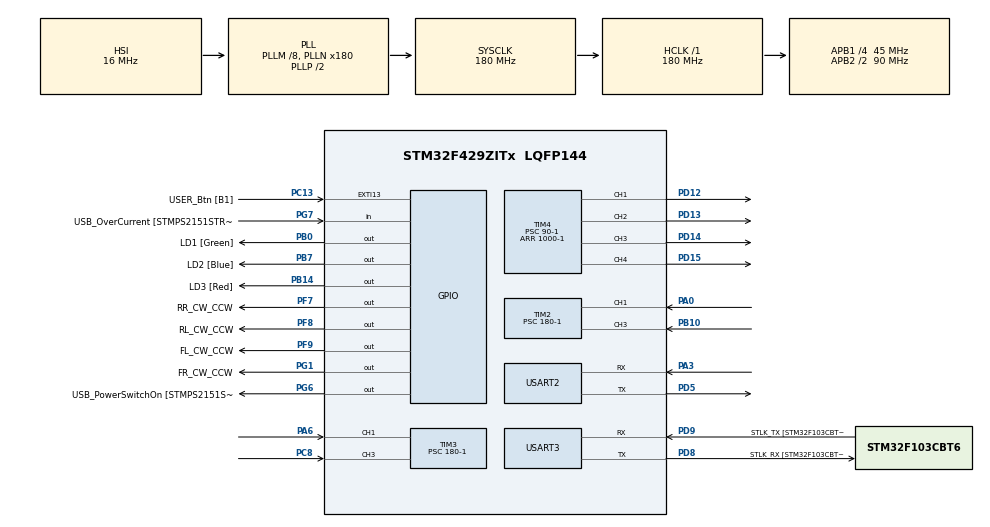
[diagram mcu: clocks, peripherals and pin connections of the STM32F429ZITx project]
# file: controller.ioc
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Mcu.Family=STM32F4
Mcu.Name=STM32F429ZITx
Mcu.Package=LQFP144
NVIC.PriorityGroup=NVIC_PRIORITYGROUP_4
NVIC.TIM2_IRQn=true\:0\:0\:false\:true\:true\:1\:true\:true
NVIC.TIM3_IRQn=true\:0\:0\:false\:true\:true\:2\:true\:true
NVIC.TIM6_DAC_IRQn=true\:0\:0\:false\:true\:true\:3\:true\:true
PA0/WKUP.Signal=S_TIM2_CH1_ETR
PA1.GPIO_Label=RMII_REF_CLK [LAN8742A-CZ-TR_REFCLK0]
PA1.Signal=ETH_REF_CLK
PA10.GPIO_Label=USB_ID
PA10.Signal=USB_OTG_FS_ID
PA11.GPIO_Label=USB_DM
PA11.Signal=USB_OTG_FS_DM
PA12.GPIO_Label=USB_DP
PA12.Signal=USB_OTG_FS_DP
PA13.GPIO_Label=TMS
PA13.Mode=Serial_Wire
PA13.Signal=SYS_JTMS-SWDIO
PA14.GPIO_Label=TCK
PA14.Mode=Serial_Wire
PA14.Signal=SYS_JTCK-SWCLK
PA2.GPIO_Label=RMII_MDIO [LAN8742A-CZ-TR_MDIO]
PA2.Signal=ETH_MDIO
PA3.Mode=Asynchronous
PA3.Signal=USART2_RX
PA6.Signal=S_TIM3_CH1
PA7.GPIO_Label=RMII_CRS_DV [LAN8742A-CZ-TR_CRS_DV]
PA7.Signal=ETH_CRS_DV
PA8.GPIO_Label=USB_SOF [TP1]
PA8.Signal=USB_OTG_FS_SOF
PA9.GPIO_Label=USB_VBUS
PA9.Signal=USB_OTG_FS_VBUS
PB0.GPIO_Label=LD1 [Green]
PB0.Signal=GPIO_Output
PB10.Signal=S_TIM2_CH3
PB13.GPIO_Label=RMII_TXD1 [LAN8742A-CZ-TR_TXD1]
PB13.Signal=ETH_TXD1
PB14.GPIO_Label=LD3 [Red]
PB14.Signal=GPIO_Output
PB7.GPIO_Label=LD2 [Blue]
PB7.Signal=GPIO_Output
PC1.GPIO_Label=RMII_MDC [LAN8742A-CZ-TR_MDC]
PC1.Signal=ETH_MDC
PC13.GPIO_Label=USER_Btn [B1]
PC13.Signal=GPXTI13
PC14/OSC32_IN.Mode=LSE-External-Oscillator
PC14/OSC32_IN.Signal=RCC_OSC32_IN
PC15/OSC32_OUT.Mode=LSE-External-Oscillator
PC15/OSC32_OUT.Signal=RCC_OSC32_OUT
PC4.GPIO_Label=RMII_RXD0 [LAN8742A-CZ-TR_RXD0]
PC4.Signal=ETH_RXD0
PC5.GPIO_Label=RMII_RXD1 [LAN8742A-CZ-TR_RXD1]
PC5.Signal=ETH_RXD1
PC8.Signal=S_TIM3_CH3
PD12.Signal=S_TIM4_CH1
PD13.Signal=S_TIM4_CH2
PD14.Signal=S_TIM4_CH3
PD15.Signal=S_TIM4_CH4
PD5.Mode=Asynchronous
PD5.Signal=USART2_TX
PD8.GPIO_Label=STLK_RX [STM32F103CBT6_PA3]
PD8.Mode=Asynchronous
PD8.Signal=USART3_TX
PD9.GPIO_Label=STLK_TX [STM32F103CBT6_PA2]
PD9.Mode=Asynchronous
PD9.Signal=USART3_RX
PF7.GPIO_Label=RR_CW_CCW
PF7.GPIO_PuPd=GPIO_NOPULL
PF7.Signal=GPIO_Output
PF8.GPIO_Label=RL_CW_CCW
PF8.Signal=GPIO_Output
PF9.GPIO_Label=FL_CW_CCW
PF9.Signal=GPIO_Output
PG1.GPIO_Label=FR_CW_CCW
PG1.GPIO_PuPd=GPIO_NOPULL
PG1.Signal=GPIO_Output
PG11.GPIO_Label=RMII_TX_EN [LAN8742A-CZ-TR_TXEN]
PG11.Signal=ETH_TX_EN
PG13.GPIO_Label=RMII_TXD0 [LAN8742A-CZ-TR_TXD0]
PG13.Signal=ETH_TXD0
PG6.GPIO_Label=USB_PowerSwitchOn [STMPS2151STR_EN]
PG6.Signal=GPIO_Output
PG7.GPIO_Label=USB_OverCurrent [STMPS2151STR_FAULT]
PG7.Signal=GPIO_Input
PH0/OSC_IN.GPIO_Label=MCO [STM32F103CBT6_PA8]
PH0/OSC_IN.Mode=HSE-External-Clock-Source
PH0/OSC_IN.Signal=RCC_OSC_IN
PH1/OSC_OUT.Mode=HSE-External-Clock-Source
PH1/OSC_OUT.Signal=RCC_OSC_OUT
ProjectManager.HeapSize=0x200
ProjectManager.StackSize=0x400
ProjectManager.TargetToolchain=STM32CubeIDE
RCC.48MHZClocksFreq_Value=51428571.428571425
RCC.AHBFreq_Value=180000000
RCC.APB1CLKDivider=RCC_HCLK_DIV4
RCC.APB1Freq_Value=45000000
RCC.APB1TimFreq_Value=90000000
RCC.APB2CLKDivider=RCC_HCLK_DIV2
RCC.APB2Freq_Value=90000000
RCC.APB2TimCLKDivider=2
RCC.APB2TimFreq_Value=180000000
RCC.CortexFreq_Value=180000000
RCC.HCLKFreq_Value=180000000
RCC.HSE_VALUE=8000000
RCC.HSI_VALUE=16000000
RCC.PLLM=8
RCC.PLLMUL=RCC_PLL_MUL9
RCC.PLLN=180
RCC.PLLQ=7
RCC.PRESCALERUSB=RCC_USBCLKSOURCE_PLL_DIV1_5
RCC.RCC_RTC_Clock_Source=RCC_RTCCLKSOURCE_LSE
RCC.RCC_RTC_Clock_SourceVirtual=RCC_RTCCLKSOURCE_LSE
RCC.SYSCLKFreq_VALUE=180000000
RCC.SYSCLKSource=RCC_SYSCLKSOURCE_PLLCLK
RCC.SYSCLKSourceVirtual=RCC_SYSCLKSOURCE_PLLCLK
RCC.USBFreq_Value=48000000
RCC.VCOOutputFreq_Value=360000000
SH.S_TIM2_CH1_ETR.0=TIM2_CH1,Input_Capture1_from_TI1
SH.S_TIM2_CH3.0=TIM2_CH3,Input_Capture3_from_TI3
SH.S_TIM3_CH1.0=TIM3_CH1,Input_Capture1_from_TI1
SH.S_TIM3_CH3.0=TIM3_CH3,Input_Capture3_from_TI3
SH.S_TIM4_CH1.0=TIM4_CH1,PWM Generation1 CH1
SH.S_TIM4_CH2.0=TIM4_CH2,PWM Generation2 CH2
SH.S_TIM4_CH3.0=TIM4_CH3,PWM Generation3 CH3
SH.S_TIM4_CH4.0=TIM4_CH4,PWM Generation4 CH4
TIM2.AutoReloadPreload=TIM_AUTORELOAD_PRELOAD_DISABLE
TIM2.Channel-Input_Capture1_from_TI1=TIM_CHANNEL_1
TIM2.Channel-Input_Capture2_from_TI1_63=TIM_CHANNEL_2
TIM2.Channel-Input_Capture3_from_TI3=TIM_CHANNEL_3
TIM2.Channel-Input_Capture4_from_TI3_63=TIM_CHANNEL_4
TIM2.ICPolarity_CH2=TIM_INPUTCHANNELPOLARITY_FALLING
TIM2.ICPolarity_CH4=TIM_INPUTCHANNELPOLARITY_FALLING
TIM2.Period=20000-1
TIM2.Prescaler=180-1
TIM3.Channel-Input_Capture1_from_TI1=TIM_CHANNEL_1
TIM3.Channel-Input_Capture2_from_TI1_63=TIM_CHANNEL_2
TIM3.Channel-Input_Capture3_from_TI3=TIM_CHANNEL_3
TIM3.Channel-Input_Capture4_from_TI3_63=TIM_CHANNEL_4
TIM3.ICPolarity_CH2=TIM_INPUTCHANNELPOLARITY_FALLING
TIM3.ICPolarity_CH4=TIM_INPUTCHANNELPOLARITY_FALLING
TIM3.Period=20000-1
TIM3.Prescaler=180-1
TIM4.AutoReloadPreload=TIM_AUTORELOAD_PRELOAD_ENABLE
TIM4.Channel-PWM\ Generation1\ CH1=TIM_CHANNEL_1
TIM4.Channel-PWM\ Generation2\ CH2=TIM_CHANNEL_2
TIM4.Channel-PWM\ Generation3\ CH3=TIM_CHANNEL_3
TIM4.Channel-PWM\ Generation4\ CH4=TIM_CHANNEL_4
TIM4.OCMode_PWM-PWM\ Generation1\ CH1=TIM_OCMODE_PWM2
TIM4.OCMode_PWM-PWM\ Generation2\ CH2=TIM_OCMODE_PWM2
TIM4.OCMode_PWM-PWM\ Generation3\ CH3=TIM_OCMODE_PWM2
TIM4.OCMode_PWM-PWM\ Generation4\ CH4=TIM_OCMODE_PWM2
TIM4.Period=1000-1
TIM4.Prescaler=90-1
TIM6.Period=10000-1
TIM6.Prescaler=180-1
USART2.VirtualMode=VM_ASYNC
USART3.VirtualMode=VM_ASYNC
VP_RTC_VS_RTC_Activate.Mode=RTC_Enabled
VP_TIM2_VS_ClockSourceINT.Mode=Internal
VP_TIM2_VS_indirect_ch1.Mode=Input_Capture2_from_TI1_63
VP_TIM2_VS_indirect_ch3.Mode=Input_Capture4_from_TI3_63
VP_TIM3_VS_ClockSourceINT.Mode=Internal
VP_TIM3_VS_indirect_ch1.Mode=Input_Capture2_from_TI1_63
VP_TIM3_VS_indirect_ch3.Mode=Input_Capture4_from_TI3_63
VP_TIM4_VS_ClockSourceINT.Mode=Internal
VP_TIM6_VS_ClockSourceINT.Mode=Enable_Timer
board=NUCLEO-F429ZI

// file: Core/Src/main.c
/* USER CODE BEGIN Header */
/**
  ******************************************************************************
  * @file           : main.c
  * @brief          : Main program body
  ******************************************************************************
  * @attention
  *
  * Copyright (c) 2022 STMicroelectronics.
  * All rights reserved.
  *
  * This software is licensed under terms that can be found in the LICENSE file
  * in the root directory of this software component.
  * If no LICENSE file comes with this software, it is provided AS-IS.
  *
  ******************************************************************************
  */
/* USER CODE END Header */
#include "main.h"

/* USER CODE BEGIN Includes */
#include "controller.h"
#include "motor.h"
#include <stdio.h>
/* USER CODE END Includes */

RTC_HandleTypeDef hrtc;

TIM_HandleTypeDef htim2;
TIM_HandleTypeDef htim3;
TIM_HandleTypeDef htim4;
TIM_HandleTypeDef htim6;

UART_HandleTypeDef huart2;
UART_HandleTypeDef huart3;

/* USER CODE BEGIN PV */
CONTROLLER_SIGNAL tmpSignal;
int16_t throttle;
int16_t duty1;
int16_t duty2;
int16_t preduty2;
int16_t duty3;
int16_t duty4;

/* USER CODE END PV */

void SystemClock_Config(void);
static void MX_GPIO_Init(void);
static void MX_USART3_UART_Init(void);
static void MX_RTC_Init(void);
static void MX_TIM2_Init(void);
static void MX_TIM3_Init(void);
static void MX_TIM4_Init(void);
static void MX_TIM6_Init(void);
static void MX_USART2_UART_Init(void);
static void MX_NVIC_Init(void);

/* USER CODE BEGIN 0 */
#ifdef __GNUC__
  /* With GCC, small printf (option LD Linker->Libraries->Small printf
     set to 'Yes') calls __io_putchar() */
  #define PUTCHAR_PROTOTYPE int __io_putchar(int ch)
#else
  #define PUTCHAR_PROTOTYPE int fputc(int ch, FILE *f)
#endif /* __GNUC__ */

void HAL_TIM_PeriodElapsedCallback(TIM_HandleTypeDef *htim)
{
	if(htim->Instance == TIM6)  //time ++
	{

		printf("%d\r\n",tmpSignal);
		//printf("\r ch1 : %d, ch2 : %d, ch3 : %d, ch4 : %d           ",duty1, duty2, duty3, duty4);
		//printf("\r control : %d,  throttle :  %d     ",tmpSignal, throttle);
	}
}

void HAL_TIM_IC_CaptureCallback(TIM_HandleTypeDef *htim)
{
	if(htim->Instance == TIM2)
	{
		HAL_GPIO_TogglePin(GPIOB, GPIO_PIN_0);
		if(htim->Channel == HAL_TIM_ACTIVE_CHANNEL_1)
		{
			TIM2->CNT = 0;
		}
		else if(htim->Channel == HAL_TIM_ACTIVE_CHANNEL_2)
		{
			duty1 = TIM2->CCR2;
		}

		if(htim->Channel == HAL_TIM_ACTIVE_CHANNEL_3)
		{
			TIM2->CNT = 0;
		}
		else if(htim->Channel == HAL_TIM_ACTIVE_CHANNEL_4)
		{
			duty2 = TIM2->CCR4;
		}
	}

	if(htim->Instance == TIM3)
	{
		HAL_GPIO_TogglePin(GPIOB, GPIO_PIN_7);
		if(htim->Channel == HAL_TIM_ACTIVE_CHANNEL_1)
		{
			TIM3->CNT = 0;
		}
		else if(htim->Channel == HAL_TIM_ACTIVE_CHANNEL_2)
		{
			duty3 = TIM3->CCR2;
		}

		if(htim->Channel == HAL_TIM_ACTIVE_CHANNEL_3)
		{
			TIM3->CNT = 0;
		}
		else if(htim->Channel == HAL_TIM_ACTIVE_CHANNEL_4)
		{
			duty4 = TIM3->CCR4;
		}
	}
}

/* USER CODE END 0 */

int main(void)
{

  /* MCU Configuration--------------------------------------------------------*/

  /* Reset of all peripherals, Initializes the Flash interface and the Systick. */
  HAL_Init();

  /* Configure the system clock */
  SystemClock_Config();

  /* Initialize all configured peripherals */
  MX_GPIO_Init();
  MX_USART3_UART_Init();
  MX_RTC_Init();
  MX_TIM2_Init();
  MX_TIM3_Init();
  MX_TIM4_Init();
  MX_TIM6_Init();
  MX_USART2_UART_Init();

  /* Initialize interrupts */
  MX_NVIC_Init();
  /* USER CODE BEGIN 2 */
  //HAL_TIM_Base_Start_IT(&htim2);

  HAL_TIM_IC_Start_IT(&htim2, TIM_CHANNEL_1);
  HAL_TIM_IC_Start_IT(&htim2, TIM_CHANNEL_2);// INPUT CAPTURE
  HAL_TIM_IC_Start_IT(&htim2, TIM_CHANNEL_3);
  HAL_TIM_IC_Start_IT(&htim2, TIM_CHANNEL_4);
  HAL_TIM_IC_Start_IT(&htim3, TIM_CHANNEL_1);
  HAL_TIM_IC_Start_IT(&htim3, TIM_CHANNEL_2);// INPUT CAPTURE
  HAL_TIM_IC_Start_IT(&htim3, TIM_CHANNEL_3);
  HAL_TIM_IC_Start_IT(&htim3, TIM_CHANNEL_4);
  HAL_TIM_PWM_Start(&htim4, TIM_CHANNEL_1);
  HAL_TIM_PWM_Start(&htim4, TIM_CHANNEL_2);
  HAL_TIM_PWM_Start(&htim4, TIM_CHANNEL_3);
  HAL_TIM_PWM_Start(&htim4, TIM_CHANNEL_4);
  HAL_TIM_Base_Start_IT(&htim6);
  HAL_GPIO_WritePin(GPIOG, GPIO_PIN_1,GPIO_PIN_SET);  //FR_CW_CCW
  HAL_GPIO_WritePin(GPIOF, GPIO_PIN_9,GPIO_PIN_SET);  //FL_CW_CCW
  HAL_GPIO_WritePin(GPIOF, GPIO_PIN_7,GPIO_PIN_SET);  //RR_CW_CCW
  HAL_GPIO_WritePin(GPIOF, GPIO_PIN_8,GPIO_PIN_SET);  //RL_CW_CCW
 // MotorInit();
  /* USER CODE END 2 */

  /* Infinite loop */
  while (1)
  {

    /* USER CODE BEGIN 3 */
		tmpSignal = Control();
		Throttle();
		Move(tmpSignal);
  }
  /* USER CODE END 3 */
}

void SystemClock_Config(void)
{
  RCC_OscInitTypeDef RCC_OscInitStruct = {0};
  RCC_ClkInitTypeDef RCC_ClkInitStruct = {0};

  /** Configure the main internal regulator output voltage
  */
  __HAL_RCC_PWR_CLK_ENABLE();
  __HAL_PWR_VOLTAGESCALING_CONFIG(PWR_REGULATOR_VOLTAGE_SCALE1);
  /** Initializes the RCC Oscillators according to the specified parameters
  * in the RCC_OscInitTypeDef structure.
  */
  RCC_OscInitStruct.OscillatorType = RCC_OSCILLATORTYPE_HSI|RCC_OSCILLATORTYPE_LSE;
  RCC_OscInitStruct.LSEState = RCC_LSE_ON;
  RCC_OscInitStruct.HSIState = RCC_HSI_ON;
  RCC_OscInitStruct.HSICalibrationValue = RCC_HSICALIBRATION_DEFAULT;
  RCC_OscInitStruct.PLL.PLLState = RCC_PLL_ON;
  RCC_OscInitStruct.PLL.PLLSource = RCC_PLLSOURCE_HSI;
  RCC_OscInitStruct.PLL.PLLM = 8;
  RCC_OscInitStruct.PLL.PLLN = 180;
  RCC_OscInitStruct.PLL.PLLP = RCC_PLLP_DIV2;
  RCC_OscInitStruct.PLL.PLLQ = 7;
  if (HAL_RCC_OscConfig(&RCC_OscInitStruct) != HAL_OK)
  {
    Error_Handler();
  }
  /** Activate the Over-Drive mode
  */
  if (HAL_PWREx_EnableOverDrive() != HAL_OK)
  {
    Error_Handler();
  }
  /** Initializes the CPU, AHB and APB buses clocks
  */
  RCC_ClkInitStruct.ClockType = RCC_CLOCKTYPE_HCLK|RCC_CLOCKTYPE_SYSCLK
                              |RCC_CLOCKTYPE_PCLK1|RCC_CLOCKTYPE_PCLK2;
  RCC_ClkInitStruct.SYSCLKSource = RCC_SYSCLKSOURCE_PLLCLK;
  RCC_ClkInitStruct.AHBCLKDivider = RCC_SYSCLK_DIV1;
  RCC_ClkInitStruct.APB1CLKDivider = RCC_HCLK_DIV4;
  RCC_ClkInitStruct.APB2CLKDivider = RCC_HCLK_DIV2;

  if (HAL_RCC_ClockConfig(&RCC_ClkInitStruct, FLASH_LATENCY_5) != HAL_OK)
  {
    Error_Handler();
  }
}

/**
  * @brief NVIC Configuration.
  * @retval None
  */
static void MX_NVIC_Init(void)
{
  /* TIM2_IRQn interrupt configuration */
  HAL_NVIC_SetPriority(TIM2_IRQn, 0, 0);
  HAL_NVIC_EnableIRQ(TIM2_IRQn);
  /* TIM3_IRQn interrupt configuration */
  HAL_NVIC_SetPriority(TIM3_IRQn, 0, 0);
  HAL_NVIC_EnableIRQ(TIM3_IRQn);
  /* TIM6_DAC_IRQn interrupt configuration */
  HAL_NVIC_SetPriority(TIM6_DAC_IRQn, 0, 0);
  HAL_NVIC_EnableIRQ(TIM6_DAC_IRQn);
}

static void MX_RTC_Init(void)
{

  /** Initialize RTC Only
  */
  hrtc.Instance = RTC;
  hrtc.Init.HourFormat = RTC_HOURFORMAT_24;
  hrtc.Init.AsynchPrediv = 127;
  hrtc.Init.SynchPrediv = 255;
  hrtc.Init.OutPut = RTC_OUTPUT_DISABLE;
  hrtc.Init.OutPutPolarity = RTC_OUTPUT_POLARITY_HIGH;
  hrtc.Init.OutPutType = RTC_OUTPUT_TYPE_OPENDRAIN;
  if (HAL_RTC_Init(&hrtc) != HAL_OK)
  {
    Error_Handler();
  }

}

static void MX_TIM2_Init(void)
{

  TIM_ClockConfigTypeDef sClockSourceConfig = {0};
  TIM_MasterConfigTypeDef sMasterConfig = {0};
  TIM_IC_InitTypeDef sConfigIC = {0};

  htim2.Instance = TIM2;
  htim2.Init.Prescaler = 180-1;
  htim2.Init.CounterMode = TIM_COUNTERMODE_UP;
  htim2.Init.Period = 20000-1;
  htim2.Init.ClockDivision = TIM_CLOCKDIVISION_DIV1;
  htim2.Init.AutoReloadPreload = TIM_AUTORELOAD_PRELOAD_DISABLE;
  if (HAL_TIM_Base_Init(&htim2) != HAL_OK)
  {
    Error_Handler();
  }
  sClockSourceConfig.ClockSource = TIM_CLOCKSOURCE_INTERNAL;
  if (HAL_TIM_ConfigClockSource(&htim2, &sClockSourceConfig) != HAL_OK)
  {
    Error_Handler();
  }
  if (HAL_TIM_IC_Init(&htim2) != HAL_OK)
  {
    Error_Handler();
  }
  sMasterConfig.MasterOutputTrigger = TIM_TRGO_RESET;
  sMasterConfig.MasterSlaveMode = TIM_MASTERSLAVEMODE_DISABLE;
  if (HAL_TIMEx_MasterConfigSynchronization(&htim2, &sMasterConfig) != HAL_OK)
  {
    Error_Handler();
  }
  sConfigIC.ICPolarity = TIM_INPUTCHANNELPOLARITY_RISING;
  sConfigIC.ICSelection = TIM_ICSELECTION_DIRECTTI;
  sConfigIC.ICPrescaler = TIM_ICPSC_DIV1;
  sConfigIC.ICFilter = 0;
  if (HAL_TIM_IC_ConfigChannel(&htim2, &sConfigIC, TIM_CHANNEL_1) != HAL_OK)
  {
    Error_Handler();
  }
  sConfigIC.ICPolarity = TIM_INPUTCHANNELPOLARITY_FALLING;
  sConfigIC.ICSelection = TIM_ICSELECTION_INDIRECTTI;
  if (HAL_TIM_IC_ConfigChannel(&htim2, &sConfigIC, TIM_CHANNEL_2) != HAL_OK)
  {
    Error_Handler();
  }
  sConfigIC.ICPolarity = TIM_INPUTCHANNELPOLARITY_RISING;
  sConfigIC.ICSelection = TIM_ICSELECTION_DIRECTTI;
  if (HAL_TIM_IC_ConfigChannel(&htim2, &sConfigIC, TIM_CHANNEL_3) != HAL_OK)
  {
    Error_Handler();
  }
  sConfigIC.ICPolarity = TIM_INPUTCHANNELPOLARITY_FALLING;
  sConfigIC.ICSelection = TIM_ICSELECTION_INDIRECTTI;
  if (HAL_TIM_IC_ConfigChannel(&htim2, &sConfigIC, TIM_CHANNEL_4) != HAL_OK)
  {
    Error_Handler();
  }

}

static void MX_TIM3_Init(void)
{

  TIM_ClockConfigTypeDef sClockSourceConfig = {0};
  TIM_MasterConfigTypeDef sMasterConfig = {0};
  TIM_IC_InitTypeDef sConfigIC = {0};

  htim3.Instance = TIM3;
  htim3.Init.Prescaler = 180-1;
  htim3.Init.CounterMode = TIM_COUNTERMODE_UP;
  htim3.Init.Period = 20000-1;
  htim3.Init.ClockDivision = TIM_CLOCKDIVISION_DIV1;
  htim3.Init.AutoReloadPreload = TIM_AUTORELOAD_PRELOAD_DISABLE;
  if (HAL_TIM_Base_Init(&htim3) != HAL_OK)
  {
    Error_Handler();
  }
  sClockSourceConfig.ClockSource = TIM_CLOCKSOURCE_INTERNAL;
  if (HAL_TIM_ConfigClockSource(&htim3, &sClockSourceConfig) != HAL_OK)
  {
    Error_Handler();
  }
  if (HAL_TIM_IC_Init(&htim3) != HAL_OK)
  {
    Error_Handler();
  }
  sMasterConfig.MasterOutputTrigger = TIM_TRGO_RESET;
  sMasterConfig.MasterSlaveMode = TIM_MASTERSLAVEMODE_DISABLE;
  if (HAL_TIMEx_MasterConfigSynchronization(&htim3, &sMasterConfig) != HAL_OK)
  {
    Error_Handler();
  }
  sConfigIC.ICPolarity = TIM_INPUTCHANNELPOLARITY_RISING;
  sConfigIC.ICSelection = TIM_ICSELECTION_DIRECTTI;
  sConfigIC.ICPrescaler = TIM_ICPSC_DIV1;
  sConfigIC.ICFilter = 0;
  if (HAL_TIM_IC_ConfigChannel(&htim3, &sConfigIC, TIM_CHANNEL_1) != HAL_OK)
  {
    Error_Handler();
  }
  sConfigIC.ICPolarity = TIM_INPUTCHANNELPOLARITY_FALLING;
  sConfigIC.ICSelection = TIM_ICSELECTION_INDIRECTTI;
  if (HAL_TIM_IC_ConfigChannel(&htim3, &sConfigIC, TIM_CHANNEL_2) != HAL_OK)
  {
    Error_Handler();
  }
  sConfigIC.ICPolarity = TIM_INPUTCHANNELPOLARITY_RISING;
  sConfigIC.ICSelection = TIM_ICSELECTION_DIRECTTI;
  if (HAL_TIM_IC_ConfigChannel(&htim3, &sConfigIC, TIM_CHANNEL_3) != HAL_OK)
  {
    Error_Handler();
  }
  sConfigIC.ICPolarity = TIM_INPUTCHANNELPOLARITY_FALLING;
  sConfigIC.ICSelection = TIM_ICSELECTION_INDIRECTTI;
  if (HAL_TIM_IC_ConfigChannel(&htim3, &sConfigIC, TIM_CHANNEL_4) != HAL_OK)
  {
    Error_Handler();
  }

}

static void MX_TIM4_Init(void)
{

  TIM_ClockConfigTypeDef sClockSourceConfig = {0};
  TIM_MasterConfigTypeDef sMasterConfig = {0};
  TIM_OC_InitTypeDef sConfigOC = {0};

  htim4.Instance = TIM4;
  htim4.Init.Prescaler = 90-1;
  htim4.Init.CounterMode = TIM_COUNTERMODE_UP;
  htim4.Init.Period = 1000-1;
  htim4.Init.ClockDivision = TIM_CLOCKDIVISION_DIV1;
  htim4.Init.AutoReloadPreload = TIM_AUTORELOAD_PRELOAD_ENABLE;
  if (HAL_TIM_Base_Init(&htim4) != HAL_OK)
  {
    Error_Handler();
  }
  sClockSourceConfig.ClockSource = TIM_CLOCKSOURCE_INTERNAL;
  if (HAL_TIM_ConfigClockSource(&htim4, &sClockSourceConfig) != HAL_OK)
  {
    Error_Handler();
  }
  if (HAL_TIM_PWM_Init(&htim4) != HAL_OK)
  {
    Error_Handler();
  }
  sMasterConfig.MasterOutputTrigger = TIM_TRGO_RESET;
  sMasterConfig.MasterSlaveMode = TIM_MASTERSLAVEMODE_DISABLE;
  if (HAL_TIMEx_MasterConfigSynchronization(&htim4, &sMasterConfig) != HAL_OK)
  {
    Error_Handler();
  }
  sConfigOC.OCMode = TIM_OCMODE_PWM2;
  sConfigOC.Pulse = 0;
  sConfigOC.OCPolarity = TIM_OCPOLARITY_HIGH;
  sConfigOC.OCFastMode = TIM_OCFAST_DISABLE;
  if (HAL_TIM_PWM_ConfigChannel(&htim4, &sConfigOC, TIM_CHANNEL_1) != HAL_OK)
  {
    Error_Handler();
  }
  if (HAL_TIM_PWM_ConfigChannel(&htim4, &sConfigOC, TIM_CHANNEL_2) != HAL_OK)
  {
    Error_Handler();
  }
  if (HAL_TIM_PWM_ConfigChannel(&htim4, &sConfigOC, TIM_CHANNEL_3) != HAL_OK)
  {
    Error_Handler();
  }
  if (HAL_TIM_PWM_ConfigChannel(&htim4, &sConfigOC, TIM_CHANNEL_4) != HAL_OK)
  {
    Error_Handler();
  }
  HAL_TIM_MspPostInit(&htim4);

}

static void MX_TIM6_Init(void)
{

  TIM_MasterConfigTypeDef sMasterConfig = {0};

  htim6.Instance = TIM6;
  htim6.Init.Prescaler = 180-1;
  htim6.Init.CounterMode = TIM_COUNTERMODE_UP;
  htim6.Init.Period = 10000-1;
  htim6.Init.AutoReloadPreload = TIM_AUTORELOAD_PRELOAD_DISABLE;
  if (HAL_TIM_Base_Init(&htim6) != HAL_OK)
  {
    Error_Handler();
  }
  sMasterConfig.MasterOutputTrigger = TIM_TRGO_RESET;
  sMasterConfig.MasterSlaveMode = TIM_MASTERSLAVEMODE_DISABLE;
  if (HAL_TIMEx_MasterConfigSynchronization(&htim6, &sMasterConfig) != HAL_OK)
  {
    Error_Handler();
  }

}

static void MX_USART2_UART_Init(void)
{

  huart2.Instance = USART2;
  huart2.Init.BaudRate = 115200;
  huart2.Init.WordLength = UART_WORDLENGTH_8B;
  huart2.Init.StopBits = UART_STOPBITS_1;
  huart2.Init.Parity = UART_PARITY_NONE;
  huart2.Init.Mode = UART_MODE_TX_RX;
  huart2.Init.HwFlowCtl = UART_HWCONTROL_NONE;
  huart2.Init.OverSampling = UART_OVERSAMPLING_16;
  if (HAL_UART_Init(&huart2) != HAL_OK)
  {
    Error_Handler();
  }

}

static void MX_USART3_UART_Init(void)
{

  huart3.Instance = USART3;
  huart3.Init.BaudRate = 115200;
  huart3.Init.WordLength = UART_WORDLENGTH_8B;
  huart3.Init.StopBits = UART_STOPBITS_1;
  huart3.Init.Parity = UART_PARITY_NONE;
  huart3.Init.Mode = UART_MODE_TX_RX;
  huart3.Init.HwFlowCtl = UART_HWCONTROL_NONE;
  huart3.Init.OverSampling = UART_OVERSAMPLING_16;
  if (HAL_UART_Init(&huart3) != HAL_OK)
  {
    Error_Handler();
  }

}

static void MX_GPIO_Init(void)
{
  GPIO_InitTypeDef GPIO_InitStruct = {0};

  /* GPIO Ports Clock Enable */
  __HAL_RCC_GPIOC_CLK_ENABLE();
  __HAL_RCC_GPIOF_CLK_ENABLE();
  __HAL_RCC_GPIOH_CLK_ENABLE();
  __HAL_RCC_GPIOA_CLK_ENABLE();
  __HAL_RCC_GPIOB_CLK_ENABLE();
  __HAL_RCC_GPIOG_CLK_ENABLE();
  __HAL_RCC_GPIOD_CLK_ENABLE();

  /*Configure GPIO pin Output Level */
  HAL_GPIO_WritePin(GPIOF, RR_CW_CCW_Pin|RL_CW_CCW_Pin|FL_CW_CCW_Pin, GPIO_PIN_RESET);

  /*Configure GPIO pin Output Level */
  HAL_GPIO_WritePin(GPIOB, LD1_Pin|LD3_Pin|LD2_Pin, GPIO_PIN_RESET);

  /*Configure GPIO pin Output Level */
  HAL_GPIO_WritePin(GPIOG, FR_CW_CCW_Pin|USB_PowerSwitchOn_Pin, GPIO_PIN_RESET);

  /*Configure GPIO pin : USER_Btn_Pin */
  GPIO_InitStruct.Pin = USER_Btn_Pin;
  GPIO_InitStruct.Mode = GPIO_MODE_IT_RISING;
  GPIO_InitStruct.Pull = GPIO_NOPULL;
  HAL_GPIO_Init(USER_Btn_GPIO_Port, &GPIO_InitStruct);

  /*Configure GPIO pins : RR_CW_CCW_Pin RL_CW_CCW_Pin FL_CW_CCW_Pin */
  GPIO_InitStruct.Pin = RR_CW_CCW_Pin|RL_CW_CCW_Pin|FL_CW_CCW_Pin;
  GPIO_InitStruct.Mode = GPIO_MODE_OUTPUT_PP;
  GPIO_InitStruct.Pull = GPIO_NOPULL;
  GPIO_InitStruct.Speed = GPIO_SPEED_FREQ_LOW;
  HAL_GPIO_Init(GPIOF, &GPIO_InitStruct);

  /*Configure GPIO pins : RMII_MDC_Pin RMII_RXD0_Pin RMII_RXD1_Pin */
  GPIO_InitStruct.Pin = RMII_MDC_Pin|RMII_RXD0_Pin|RMII_RXD1_Pin;
  GPIO_InitStruct.Mode = GPIO_MODE_AF_PP;
  GPIO_InitStruct.Pull = GPIO_NOPULL;
  GPIO_InitStruct.Speed = GPIO_SPEED_FREQ_VERY_HIGH;
  GPIO_InitStruct.Alternate = GPIO_AF11_ETH;
  HAL_GPIO_Init(GPIOC, &GPIO_InitStruct);

  /*Configure GPIO pins : RMII_REF_CLK_Pin RMII_MDIO_Pin RMII_CRS_DV_Pin */
  GPIO_InitStruct.Pin = RMII_REF_CLK_Pin|RMII_MDIO_Pin|RMII_CRS_DV_Pin;
  GPIO_InitStruct.Mode = GPIO_MODE_AF_PP;
  GPIO_InitStruct.Pull = GPIO_NOPULL;
  GPIO_InitStruct.Speed = GPIO_SPEED_FREQ_VERY_HIGH;
  GPIO_InitStruct.Alternate = GPIO_AF11_ETH;
  HAL_GPIO_Init(GPIOA, &GPIO_InitStruct);

  /*Configure GPIO pins : LD1_Pin LD3_Pin LD2_Pin */
  GPIO_InitStruct.Pin = LD1_Pin|LD3_Pin|LD2_Pin;
  GPIO_InitStruct.Mode = GPIO_MODE_OUTPUT_PP;
  GPIO_InitStruct.Pull = GPIO_NOPULL;
  GPIO_InitStruct.Speed = GPIO_SPEED_FREQ_LOW;
  HAL_GPIO_Init(GPIOB, &GPIO_InitStruct);

  /*Configure GPIO pins : FR_CW_CCW_Pin USB_PowerSwitchOn_Pin */
  GPIO_InitStruct.Pin = FR_CW_CCW_Pin|USB_PowerSwitchOn_Pin;
  GPIO_InitStruct.Mode = GPIO_MODE_OUTPUT_PP;
  GPIO_InitStruct.Pull = GPIO_NOPULL;
  GPIO_InitStruct.Speed = GPIO_SPEED_FREQ_LOW;
  HAL_GPIO_Init(GPIOG, &GPIO_InitStruct);

  /*Configure GPIO pin : RMII_TXD1_Pin */
  GPIO_InitStruct.Pin = RMII_TXD1_Pin;
  GPIO_InitStruct.Mode = GPIO_MODE_AF_PP;
  GPIO_InitStruct.Pull = GPIO_NOPULL;
  GPIO_InitStruct.Speed = GPIO_SPEED_FREQ_VERY_HIGH;
  GPIO_InitStruct.Alternate = GPIO_AF11_ETH;
  HAL_GPIO_Init(RMII_TXD1_GPIO_Port, &GPIO_InitStruct);

  /*Configure GPIO pin : USB_OverCurrent_Pin */
  GPIO_InitStruct.Pin = USB_OverCurrent_Pin;
  GPIO_InitStruct.Mode = GPIO_MODE_INPUT;
  GPIO_InitStruct.Pull = GPIO_NOPULL;
  HAL_GPIO_Init(USB_OverCurrent_GPIO_Port, &GPIO_InitStruct);

  /*Configure GPIO pins : USB_SOF_Pin USB_ID_Pin USB_DM_Pin USB_DP_Pin */
  GPIO_InitStruct.Pin = USB_SOF_Pin|USB_ID_Pin|USB_DM_Pin|USB_DP_Pin;
  GPIO_InitStruct.Mode = GPIO_MODE_AF_PP;
  GPIO_InitStruct.Pull = GPIO_NOPULL;
  GPIO_InitStruct.Speed = GPIO_SPEED_FREQ_VERY_HIGH;
  GPIO_InitStruct.Alternate = GPIO_AF10_OTG_FS;
  HAL_GPIO_Init(GPIOA, &GPIO_InitStruct);

  /*Configure GPIO pin : USB_VBUS_Pin */
  GPIO_InitStruct.Pin = USB_VBUS_Pin;
  GPIO_InitStruct.Mode = GPIO_MODE_INPUT;
  GPIO_InitStruct.Pull = GPIO_NOPULL;
  HAL_GPIO_Init(USB_VBUS_GPIO_Port, &GPIO_InitStruct);

  /*Configure GPIO pins : RMII_TX_EN_Pin RMII_TXD0_Pin */
  GPIO_InitStruct.Pin = RMII_TX_EN_Pin|RMII_TXD0_Pin;
  GPIO_InitStruct.Mode = GPIO_MODE_AF_PP;
  GPIO_InitStruct.Pull = GPIO_NOPULL;
  GPIO_InitStruct.Speed = GPIO_SPEED_FREQ_VERY_HIGH;
  GPIO_InitStruct.Alternate = GPIO_AF11_ETH;
  HAL_GPIO_Init(GPIOG, &GPIO_InitStruct);

}

/* USER CODE BEGIN 4 */
PUTCHAR_PROTOTYPE
{
  /* Place your implementation of fputc here */
  /* e.g. write a character to the EVAL_COM1 and Loop until the end of transmission */
  HAL_UART_Transmit(&huart3, (uint8_t *)&ch, 1, 0xFFFF);

  return ch;
}
/* USER CODE END 4 */

void Error_Handler(void)
{
  __disable_irq();
  while (1)
  {
  }
}
